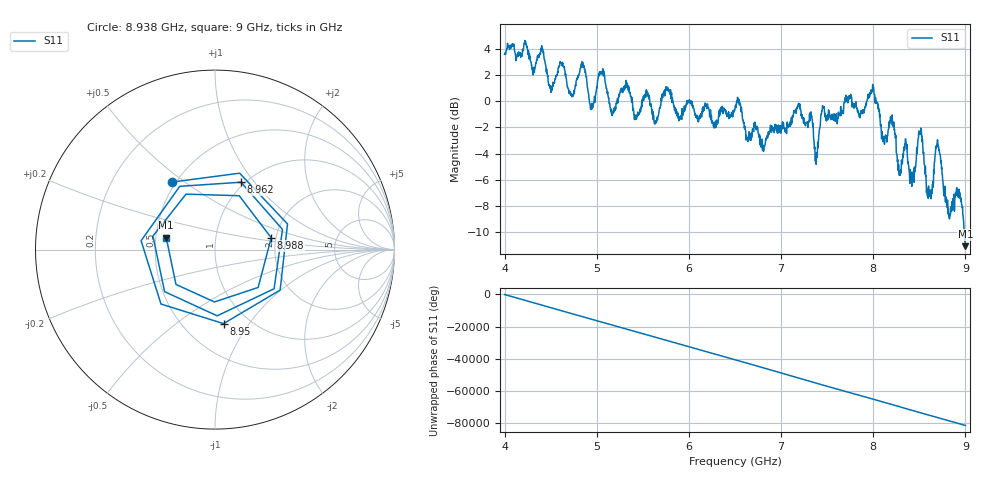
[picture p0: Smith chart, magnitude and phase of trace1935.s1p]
! Created with skrf 1.8.0 (http://scikit-rf.org).
# Hz S RI R 50.0
!freq ReS11 ImS11
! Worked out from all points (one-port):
!   1601 points, 4 GHz to 9 GHz, reference 50 ohm
!   lowest |S11| = -11.1 dB at 9 GHz (marker M1), VSWR 1.78, Z = 28.4 + j4.11 ohm
!   |S11| at or under -10 dB: 8.991372 GHz to end of sweep
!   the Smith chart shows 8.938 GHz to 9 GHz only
!   S11 on the Smith chart (normalised r, x): 8.938 GHz: 0.48, +0.45; 8.95 GHz: 0.77, -0.77; 8.962 GHz: 0.96, +0.86; 8.988 GHz: 1.89, +0.28; 9 GHz: 0.57, +0.08
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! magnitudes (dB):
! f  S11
! 4 GHz  3.6
! 4.625 GHz  3.0
! 4.722 GHz  0.5
! 4.853 GHz  2.8
! 4.944 GHz  -0.3
! 5.044 GHz  2.2
! 5.166 GHz  -0.9
! 5.25 GHz  0.6
! 5.875 GHz  -0.9
! 6.5 GHz  -0.5
! 6.8 GHz  -3.7
! 7.125 GHz  -1.1
! 7.381 GHz  -4.8
! 7.453 GHz  -0.4
! 7.75 GHz  0.2
! 7.991 GHz  0.9
! 8.278 GHz  -5.4
! 8.375 GHz  -4.7
! 8.434 GHz  -5.8
! 8.509 GHz  -2.3
! 8.603 GHz  -6.8
! 8.7 GHz  -3.1
! 8.812 GHz  -8.6
! 8.938 GHz  -7.0
! 8.95 GHz  -7.6
! 8.962 GHz  -7.9
! 8.988 GHz  -9.9
! 9 GHz  -11.1
